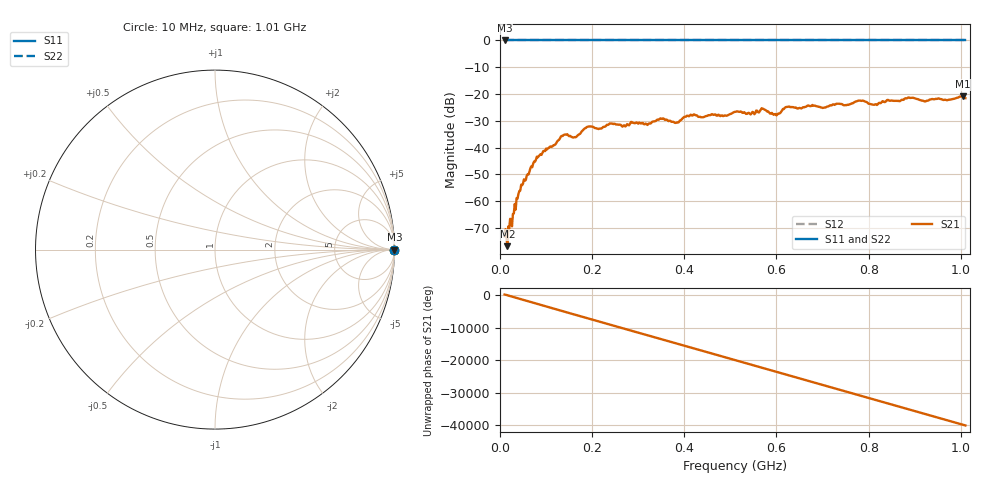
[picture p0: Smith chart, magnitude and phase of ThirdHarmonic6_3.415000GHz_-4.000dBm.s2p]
! 8/17/2025 10:56:31 AM
! C:\ANRITSUVNA\TEMP\TEMP.S2P
! CHANNEL.1
! TR.MEASUREMENT
! RAW.DATA
! RF.CORRECTION.OFF
! AVERAGING.OFF
! IF.BANDWIDTH: 5KHZ
! SWEEPTYPE:  FREQ.SWEEP(Linear)
! Reference Plane Port Info
! PORT:  PORT1  PORT2
! DISTANCE:  0  m  0  m
! TIME:  0  s  0  s
! PHASE.OFFSET:  0  deg.  0  deg.
! LOSS:  0  dB  0  dB
! REF.LOSS:  0  dB  0  dB
! REF.FREQ:  0  Hz  0  Hz
! Power Info
! POWER:  -20  dBm  -20  dBm
! EFF.POWER:  -20  dBm  -20  dBm
! SOURCE.ATTEN:  0  dB  0  dB
! TEST.ATTEN:  0  dB  0  dB
# GHZ S RI R 50.0
! FREQ.GHZ  S11RE  S11IM  S21RE  S21IM  S12RE  S12IM  S22RE  S22IM
!; PortSelection: Port_12
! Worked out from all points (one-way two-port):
!   501 points, 10 MHz to 1.01 GHz, reference 50 ohm
!   highest |S21| = -20.87 dB at 1.004 GHz (marker M1); lowest = -76.9 dB at 16 MHz (marker M2)
!   lowest |S11| = 0.0 dB at 10 MHz (marker M3)
!   |S11| at or under -10 dB: nowhere
!   |S22| runs from 0.0 to 0.0 dB; largest |S21 - S12| = 1.1
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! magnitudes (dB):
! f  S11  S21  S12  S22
! 10 MHz  0.0  -73.2  0.0  0.0
! 16 MHz  0.0  -76.9  0.0  0.0
! 44 MHz  0.0  -56.1  0.0  0.0
! 76 MHz  0.0  -45.3  0.0  0.0
! 136 MHz  0.0  -35.7  0.0  0.0
! 162 MHz  0.0  -36.1  0.0  0.0
! 178 MHz  0.0  -33.8  0.0  0.0
! 192 MHz  0.0  -32.2  0.0  0.0
! 322 MHz  0.0  -31.2  0.0  0.0
! 344 MHz  0.0  -29.6  0.0  0.0
! 384 MHz  0.0  -30.6  0.0  0.0
! 410 MHz  0.0  -28.3  0.0  0.0
! 510 MHz  0.0  -26.7  0.0  0.0
! 570 MHz  0.0  -25.5  0.0  0.0
! 598 MHz  0.0  -27.5  0.0  0.0
! 624 MHz  0.0  -24.8  0.0  0.0
! 678 MHz  0.0  -24.1  0.0  0.0
! 784 MHz  0.0  -22.6  0.0  0.0
! 814 MHz  0.0  -23.9  0.0  0.0
! 844 MHz  0.0  -22.4  0.0  0.0
! 1.004 GHz  0.0  -20.9  0.0  0.0
! 1.01 GHz  0.0  -21.6  0.0  0.0
